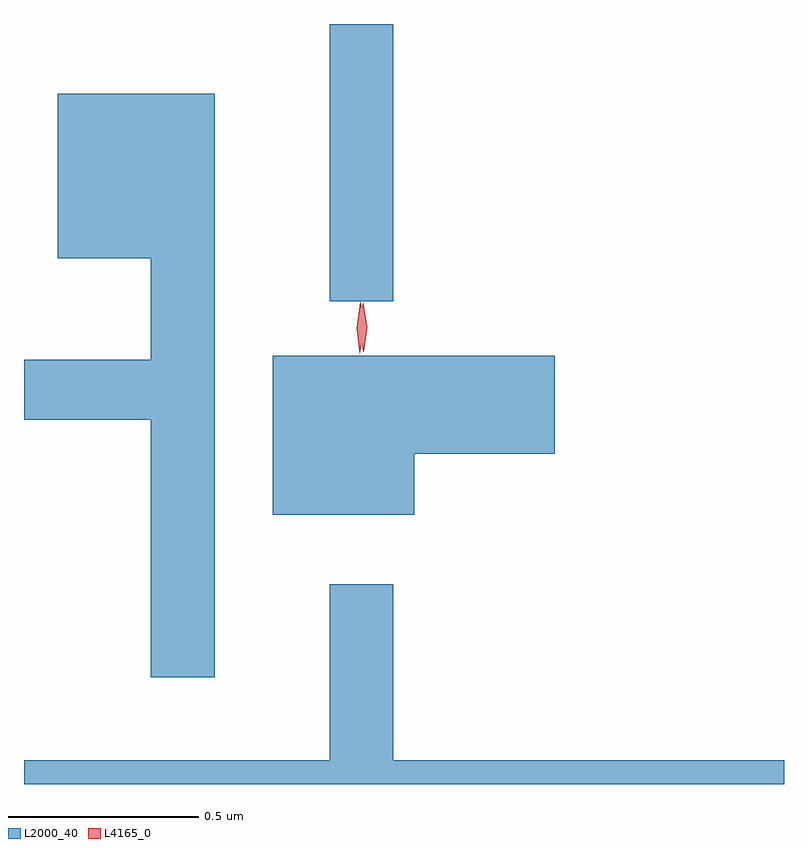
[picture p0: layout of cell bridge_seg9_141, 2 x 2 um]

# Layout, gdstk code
import gdstk
lib = gdstk.Library(unit=1e-6, precision=1e-09)
def R(c, l, rs):  # rectangles x0, y0, x1, y1
    for r in rs: c.add(gdstk.rectangle(r[:2], r[2:], *l))
def P(c, l, *ps):  # polygons
    for p in ps: c.add(gdstk.Polygon(p, *l))
L2000_40 = (2000, 40)
L4165_0 = (4165, 0)

bridge_seg9_141 = lib.new_cell('bridge_seg9_141')
R(bridge_seg9_141, L2000_40, [(1317.131,2037.693,1317.299,2038.422)])
P(bridge_seg9_141, L2000_40, [(1316.829,2038.239),(1316.416,2038.239),(1316.416,2037.806),(1316.661,2037.806),(1316.661,2037.539),(1316.327,2037.539),(1316.327,2037.381),(1316.661,2037.381),(1316.661,2036.703),(1316.829,2036.703)],
  [(1317.354,2037.291),(1317.724,2037.291),(1317.724,2037.549),(1316.981,2037.549),(1316.981,2037.131),(1317.354,2037.131)],
  [(1318.327,2036.484),(1317.299,2036.484),(1317.299,2036.948),(1317.131,2036.948),(1317.131,2036.484),(1316.327,2036.484),(1316.327,2036.422),(1318.327,2036.422)])
P(bridge_seg9_141, L4165_0, [(1317.21,2037.554),(1317.202,2037.622),(1317.212,2037.69),(1317.212,2037.69),(1317.213,2037.69),(1317.222,2037.622),(1317.211,2037.554),(1317.211,2037.554)],
  [(1317.22,2037.56),(1317.22,2037.56),(1317.21,2037.624),(1317.219,2037.686),(1317.22,2037.687),(1317.22,2037.686),(1317.23,2037.624),(1317.221,2037.56)])

lib.write_gds('bridge_seg9_141.gds')
